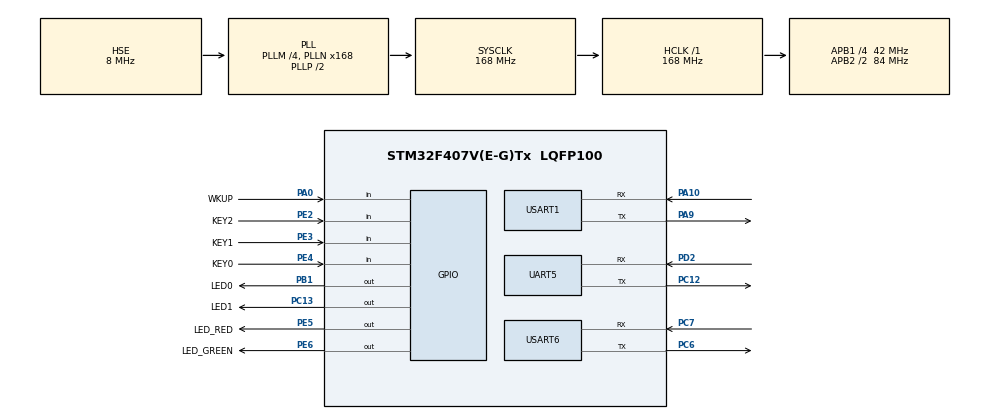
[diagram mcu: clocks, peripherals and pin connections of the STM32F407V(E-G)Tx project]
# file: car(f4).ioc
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Mcu.Family=STM32F4
Mcu.Name=STM32F407V(E-G)Tx
Mcu.Package=LQFP100
NVIC.PriorityGroup=NVIC_PRIORITYGROUP_4
NVIC.USART1_IRQn=true\:0\:0\:false\:false\:true\:true\:true\:true
PA0-WKUP.GPIO_Label=WKUP
PA0-WKUP.GPIO_PuPd=GPIO_PULLDOWN
PA0-WKUP.Signal=GPIO_Input
PA10.Mode=Asynchronous
PA10.Signal=USART1_RX
PA13.Mode=Serial_Wire
PA13.Signal=SYS_JTMS-SWDIO
PA14.Mode=Serial_Wire
PA14.Signal=SYS_JTCK-SWCLK
PA9.Mode=Asynchronous
PA9.Signal=USART1_TX
PB1.GPIO_Label=LED0
PB1.Signal=GPIO_Output
PC12.Mode=Asynchronous
PC12.Signal=UART5_TX
PC13-ANTI_TAMP.GPIO_Label=LED1
PC13-ANTI_TAMP.Signal=GPIO_Output
PC6.Mode=Asynchronous
PC6.Signal=USART6_TX
PC7.Mode=Asynchronous
PC7.Signal=USART6_RX
PD2.Mode=Asynchronous
PD2.Signal=UART5_RX
PE2.GPIO_Label=KEY2
PE2.GPIO_PuPd=GPIO_PULLUP
PE2.Signal=GPIO_Input
PE3.GPIO_Label=KEY1
PE3.GPIO_PuPd=GPIO_PULLUP
PE3.Signal=GPIO_Input
PE4.GPIO_Label=KEY0
PE4.GPIO_PuPd=GPIO_PULLUP
PE4.Signal=GPIO_Input
PE5.GPIO_Label=LED_RED
PE5.Signal=GPIO_Output
PE6.GPIO_Label=LED_GREEN
PE6.Signal=GPIO_Output
PH0-OSC_IN.Mode=HSE-External-Oscillator
PH0-OSC_IN.Signal=RCC_OSC_IN
PH1-OSC_OUT.Mode=HSE-External-Oscillator
PH1-OSC_OUT.Signal=RCC_OSC_OUT
ProjectManager.HeapSize=0x200
ProjectManager.StackSize=0x400
ProjectManager.TargetToolchain=MDK-ARM V5.32
RCC.48MHZClocksFreq_Value=84000000
RCC.AHBFreq_Value=168000000
RCC.APB1CLKDivider=RCC_HCLK_DIV4
RCC.APB1Freq_Value=42000000
RCC.APB1TimFreq_Value=84000000
RCC.APB2CLKDivider=RCC_HCLK_DIV2
RCC.APB2Freq_Value=84000000
RCC.APB2TimFreq_Value=168000000
RCC.CortexFreq_Value=168000000
RCC.HCLKFreq_Value=168000000
RCC.HSE_VALUE=8000000
RCC.HSI_VALUE=16000000
RCC.LSE_VALUE=32768
RCC.PLLM=4
RCC.PLLN=168
RCC.PLLSourceVirtual=RCC_PLLSOURCE_HSE
RCC.SYSCLKFreq_VALUE=168000000
RCC.SYSCLKSource=RCC_SYSCLKSOURCE_PLLCLK
RCC.VCOOutputFreq_Value=336000000
UART5.VirtualMode=Asynchronous
USART1.VirtualMode=VM_ASYNC
USART6.VirtualMode=VM_ASYNC
board=custom

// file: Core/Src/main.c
/* USER CODE BEGIN Header */
/**
  ******************************************************************************
  * @file           : main.c
  * @brief          : Main program body
  ******************************************************************************
  * @attention
  *
  * Copyright (c) 2025 STMicroelectronics.
  * All rights reserved.
  *
  * This software is licensed under terms that can be found in the LICENSE file
  * in the root directory of this software component.
  * If no LICENSE file comes with this software, it is provided AS-IS.
  *
  ******************************************************************************
  */
/* USER CODE END Header */
#include "main.h"
#include "usart.h"
#include "gpio.h"

/* USER CODE BEGIN Includes */
#include "Emm_V5.h"
#include <stdbool.h>
#include "key.h"
#include <pid.h>
/* USER CODE END Includes */

/* USER CODE BEGIN PV */
unsigned char rx_buff[256]={0};

/* USER CODE END PV */

void SystemClock_Config(void);

/* USER CODE BEGIN 0 */
	uint8_t response[32];//character strings for serial port and led
	uint8_t Urxbuf[9];
	int Usart_Compelet;
	int myabs(int a)
{
	  int temp;
		if(a<0)  temp=-a;
	  else temp=a;
	  return temp;
}
		int three_flag1=0;
/* USER CODE END 0 */

int main(void)
{

  /* MCU Configuration--------------------------------------------------------*/

  /* Reset of all peripherals, Initializes the Flash interface and the Systick. */
  HAL_Init();

  /* Configure the system clock */
  SystemClock_Config();

  /* Initialize all configured peripherals */
  MX_GPIO_Init();
  MX_USART1_UART_Init();
  MX_USART6_UART_Init();
  MX_UART5_Init();
  /* USER CODE BEGIN 2 */

		int speed=75;
		int error = 1;
		int dir;
    uint8_t check = 0;
		int i;
    float target_angle1 = 0.0f, target_angle2 = 0.0f;
		// 创建离散 PID 控制器
    DiscretePIDController pid_x, pid_y;
    CoordinatePID coord_pid;
    float p=0.6;
		float pid_i=0.0;
		float d=0.2;
    // 初始化 PID 参数（与原始Python代码相同）
    PID_Init(&pid_x, p, pid_i, d, -400.0, 400.0);
    PID_Init(&pid_y, p, pid_i, d, -400.0, 400.0);

    coord_pid.x = &pid_x;
    coord_pid.y = &pid_y;

		 double output[2];       // 输出结果
  /* USER CODE END 2 */

  /* Infinite loop */
  while (1)
  {

    /* USER CODE BEGIN 3 */
		Key_Scan();
    error=1;
		check = 0;
		target_angle1 = 0.0f, target_angle2 = 0.0f;
    if(Usart_Compelet == 1) // 串口通信完成
    {
        // 计算校验（前8字节异或）
        for( i = 0; i < 8; i++)
        {
            check ^= Urxbuf[i]; // 异或校验
        }

        // 检查校验结果（第9字节是校验位）
        if(check == Urxbuf[8])
        {
            error = 0; // 校验成功

            // 将接收到的字节转换为浮点数
            memcpy(&target_angle1, &Urxbuf[0], 4);  // 前4字节是第一个浮点数
            memcpy(&target_angle2, &Urxbuf[4], 4);  // 后4字节是第二个浮点数
        }
        else
        {
            error = 1; // 校验失败
        }

        Usart_Compelet = 0; // 重置完成标志
    }

    if(error == 0) // 数据有效
    {
        // 坐标制转换示例（如果需要）
        coordinate_pid(target_angle1, target_angle2, &coord_pid, output);
        if(output[0] != 0.0f)
        {
            // x坐标换算成角度 500mm 32*8=256

            int angle1 = output[0];
						dir=(angle1>0)?1:0;
						Emm_V5_Pos_Control(0, dir, speed, 0, myabs(angle1), 0, 0, huart5);
        }
        if(output[1] != 0.0f)
        {
            // y坐标换算成角度
            int angle2 = output[1];
						dir=(angle2>0)?1:0;
            Emm_V5_Pos_Control(0, dir, speed, 0, myabs(angle2), 0, 0, huart6);
        }
        HAL_GPIO_WritePin(LED_GREEN_GPIO_Port,LED_GREEN_Pin,GPIO_PIN_SET);
    }
  }
  /* USER CODE END 3 */
}

void SystemClock_Config(void)
{
  RCC_OscInitTypeDef RCC_OscInitStruct = {0};
  RCC_ClkInitTypeDef RCC_ClkInitStruct = {0};

  /** Configure the main internal regulator output voltage
  */
  __HAL_RCC_PWR_CLK_ENABLE();
  __HAL_PWR_VOLTAGESCALING_CONFIG(PWR_REGULATOR_VOLTAGE_SCALE1);

  /** Initializes the RCC Oscillators according to the specified parameters
  * in the RCC_OscInitTypeDef structure.
  */
  RCC_OscInitStruct.OscillatorType = RCC_OSCILLATORTYPE_HSE;
  RCC_OscInitStruct.HSEState = RCC_HSE_ON;
  RCC_OscInitStruct.PLL.PLLState = RCC_PLL_ON;
  RCC_OscInitStruct.PLL.PLLSource = RCC_PLLSOURCE_HSE;
  RCC_OscInitStruct.PLL.PLLM = 4;
  RCC_OscInitStruct.PLL.PLLN = 168;
  RCC_OscInitStruct.PLL.PLLP = RCC_PLLP_DIV2;
  RCC_OscInitStruct.PLL.PLLQ = 4;
  if (HAL_RCC_OscConfig(&RCC_OscInitStruct) != HAL_OK)
  {
    Error_Handler();
  }

  /** Initializes the CPU, AHB and APB buses clocks
  */
  RCC_ClkInitStruct.ClockType = RCC_CLOCKTYPE_HCLK|RCC_CLOCKTYPE_SYSCLK
                              |RCC_CLOCKTYPE_PCLK1|RCC_CLOCKTYPE_PCLK2;
  RCC_ClkInitStruct.SYSCLKSource = RCC_SYSCLKSOURCE_PLLCLK;
  RCC_ClkInitStruct.AHBCLKDivider = RCC_SYSCLK_DIV1;
  RCC_ClkInitStruct.APB1CLKDivider = RCC_HCLK_DIV4;
  RCC_ClkInitStruct.APB2CLKDivider = RCC_HCLK_DIV2;

  if (HAL_RCC_ClockConfig(&RCC_ClkInitStruct, FLASH_LATENCY_5) != HAL_OK)
  {
    Error_Handler();
  }
}

void Error_Handler(void)
{
  __disable_irq();
  while (1)
  {
  }
}
